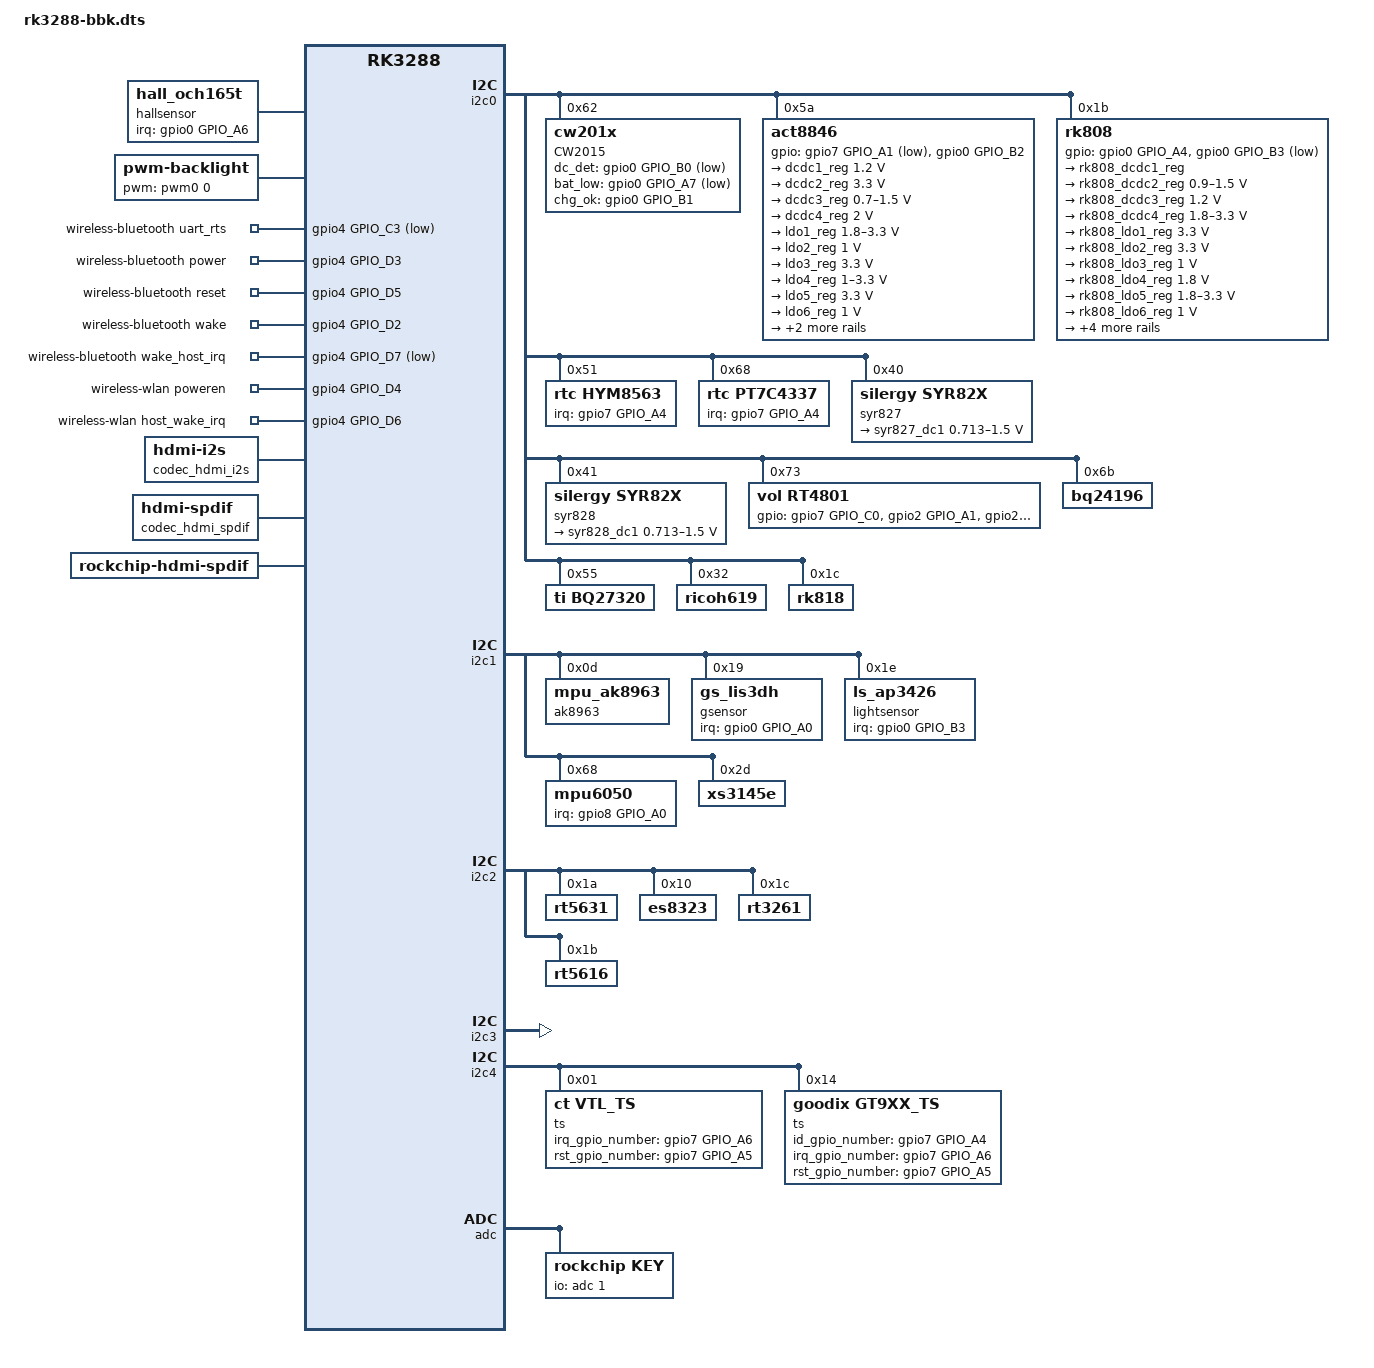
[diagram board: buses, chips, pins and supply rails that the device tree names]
/dts-v1/;
#include "rk3288.dtsi"
#include "vtl_ts_sdk8846.dtsi"
#include "lcd-bbk.dtsi"
/ {
    fiq-debugger {
		compatible = "rockchip,fiq-debugger";
		rockchip,serial-id = <0x02>;
		rockchip,signal-irq = <0x6a>;
		rockchip,wake-irq = <0x00>;
		status = "okay";
	};
    gpu {
		compatible = "arm,malit764",
			     "arm,malit76x",
			     "arm,malit7xx",
			     "arm,mali-midgard";
		reg = <0xffa30000 0x10000>;
		interrupts = <GIC_SPI 6 IRQ_TYPE_LEVEL_HIGH>,
			     <GIC_SPI 7 IRQ_TYPE_LEVEL_HIGH>,
			     <GIC_SPI 8 IRQ_TYPE_LEVEL_HIGH>;
		interrupt-names = "JOB", "MMU", "GPU";
	};
    hallsensor {
        compatible = "hall_och165t";
        type = <SENSOR_TYPE_HALL>;
        irq-gpio = <&gpio0 GPIO_A6 IRQ_TYPE_EDGE_BOTH>;
    };
    backlight: backlight {
		compatible = "pwm-backlight";
		pwms = <&pwm0 0 50000>;
        brightness-levels = <0x08 0x09 0x0a 0x0b 0x0c 0x0c 0x0d 0x0e 0x0f 0x10 0x10 0x11 0x12 0x13 0x14 0x14 0x15 0x16 0x17 0x17 0x18 0x19 0x1a 0x1b 0x1b 0x1c 0x1d 0x1e 0x1f 0x1f 0x20 0x21 0x22 0x23 0x23 0x24 0x25 0x26 0x26 0x27 0x28 0x29 0x2a 0x2a 0x2b 0x2c 0x2d 0x2e 0x2e 0x2f 0x2f 0x30 0x30 0x31 0x31 0x32 0x32 0x33 0x33 0x34 0x34 0x35 0x35 0x36 0x37 0x38 0x38 0x39 0x39 0x3a 0x3b 0x3c 0x3c 0x3d 0x3d 0x3e 0x3e 0x3f 0x3f 0x40 0x40 0x41 0x41 0x42 0x42 0x43 0x43 0x44 0x44 0x45 0x45 0x46 0x46 0x47 0x47 0x48 0x48 0x49 0x49 0x4a 0x4a 0x4b 0x4b 0x4c 0x4c 0x4d 0x4e 0x4e 0x4f 0x4f 0x50 0x50 0x51 0x51 0x52 0x52 0x53 0x53 0x53 0x54 0x54 0x54 0x55 0x55 0x55 0x56 0x56 0x56 0x57 0x57 0x58 0x58 0x58 0x59 0x59 0x59 0x5a 0x5a 0x5b 0x5b 0x5b 0x5c 0x5c 0x5c 0x5d 0x5d 0x5d 0x5e 0x5e 0x5e 0x5f 0x5f 0x5f 0x60 0x60 0x61 0x61 0x62 0x62 0x62 0x63 0x63 0x63 0x64 0x64 0x65 0x65 0x66 0x66 0x67 0x67 0x68 0x68 0x69 0x69 0x6a 0x6a 0x6b 0x6b 0x6c 0x6c 0x6d 0x6d 0x6e 0x6e 0x6f 0x70 0x71 0x72 0x73 0x74 0x75 0x76 0x77 0x78 0x79 0x7a 0x7b 0x7c 0x7d 0x7e 0x7f 0x80 0x81 0x82 0x83 0x84 0x85 0x86 0x87 0x88 0x89 0x8a 0x8b 0x8c 0x8d 0x8e 0x8f 0x90 0x91 0x92 0x93 0x94 0x95 0x96 0x97 0x98 0x99 0x9a 0x9b 0x9c 0x9d 0x9e 0x9f 0xa0 0xa1 0xa2 0xa3 0xa4 0xa5 0xa6 0xa7 0xa8 0xa9 0xaa 0xab 0xac 0xad 0xae 0xaf 0xb0 0xb1 0xb2 0xb3 0xb4>;
		brightness-levels1 = <0x30 0x31 0x32 0x33 0x34 0x34 0x35 0x36 0x37 0x38 0x38 0x39 0x3a 0x3b 0x3c 0x3c 0x3d 0x3e 0x3f 0x3f 0x40 0x41 0x42 0x43 0x43 0x44 0x45 0x46 0x47 0x47 0x48 0x49 0x4a 0x4b 0x4b 0x4c 0x4d 0x4e 0x4e 0x4f 0x50 0x51 0x52 0x52 0x53 0x54 0x55 0x56 0x56 0x57 0x57 0x58 0x58 0x59 0x59 0x5a 0x5a 0x5b 0x5b 0x5c 0x5c 0x5d 0x5d 0x5e 0x5e 0x5f 0x5f 0x60 0x60 0x61 0x61 0x62 0x62 0x63 0x63 0x64 0x64 0x65 0x65 0x66 0x66 0x67 0x67 0x68 0x69 0x69 0x6a 0x6a 0x6b 0x6b 0x6c 0x6c 0x6d 0x6d 0x6e 0x6e 0x6f 0x6f 0x70 0x70 0x71 0x71 0x72 0x72 0x73 0x73 0x73 0x74 0x74 0x75 0x75 0x76 0x76 0x77 0x78 0x78 0x79 0x7a 0x7b 0x7c 0x7d 0x7e 0x7f 0x80 0x80 0x81 0x82 0x83 0x83 0x84 0x84 0x85 0x86 0x86 0x87 0x88 0x88 0x89 0x8a 0x8a 0x8a 0x8b 0x8b 0x8b 0x8c 0x8c 0x8c 0x8d 0x8d 0x8d 0x8e 0x8e 0x8e 0x8f 0x8f 0x8f 0x90 0x90 0x90 0x91 0x91 0x91 0x92 0x92 0x92 0x93 0x93 0x94 0x94 0x95 0x96 0x97 0x98 0x99 0x9a 0x9b 0x9c 0x9d 0x9e 0x9f 0xa0 0xa1 0xa2 0xa3 0xa4 0xa5 0xa6 0xa7 0xa8 0xa9 0xaa 0xab 0xac 0xad 0xae 0xaf 0xb0 0xb1 0xb2 0xb3 0xb4 0xb5 0xb6 0xb7 0xb8 0xb9 0xba 0xbb 0xbc 0xbd 0xbe 0xbf 0xc0 0xc1 0xc2 0xc3 0xc4 0xc5 0xc6 0xc7 0xc8 0xc9 0xca 0xcb 0xcc 0xcd 0xce 0xcf 0xd0 0xd1 0xd2 0xd3 0xd4 0xd5 0xd6 0xd7 0xd8 0xd9 0xda 0xdb 0xdc 0xdd 0xde 0xdf 0xe0 0xe1 0xe2 0xe3 0xe4 0xe5 0xe6 0xe7 0xe8 0xe9 0xea 0xeb>;
		default-brightness-level = <60>;
		//enable-gpios = <&gpio0 GPIO_A4 GPIO_ACTIVE_HIGH>;
    };
    chosen {
		bootargs = "vmalloc=512M console=tty0";
	};
    pwm_regulator {
		compatible = "rockchip_pwm_regulator";
		pwms = <&pwm1 0 2000>;
		rockchip,pwm_id= <1>;
		rockchip,pwm_voltage_map= <925000 950000 975000 1000000 1025000 1050000 1075000 1100000 1125000 1150000 1175000 1200000 1225000 1250000 1275000 1300000 1325000 1350000 1375000 1400000>;
		rockchip,pwm_voltage= <1000000>;
		rockchip,pwm_min_voltage= <925000>;
		rockchip,pwm_max_voltage= <1400000>;
		rockchip,pwm_suspend_voltage= <950000>;
		rockchip,pwm_coefficient= <475>;
        status = "disabled";
        regulators {
			#address-cells = <1>;
			#size-cells = <0>;
			pwm_reg0: regulator@0 {
				regulator-compatible = "pwm_dcdc1";
				regulator-name= "vdd_logic";
				regulator-min-microvolt = <925000>;
				regulator-max-microvolt = <1400000>;
				regulator-always-on;
				regulator-boot-on;
			};
		};
    };
    wireless-bluetooth {
        compatible = "bluetooth-platdata";

        //wifi-bt-power-toggle;

        uart_rts_gpios = <&gpio4 GPIO_C3 GPIO_ACTIVE_LOW>;
        pinctrl-names = "default","rts_gpio";
        pinctrl-0 = <&uart0_rts>;
        pinctrl-1 = <&uart0_rts_gpio>;

        BT,power_gpio = <&gpio4 GPIO_D3 GPIO_ACTIVE_HIGH>;
        BT,reset_gpio = <&gpio4 GPIO_D5 GPIO_ACTIVE_HIGH>;
        BT,wake_gpio = <&gpio4 GPIO_D2 GPIO_ACTIVE_HIGH>;
        BT,wake_host_irq = <&gpio4 GPIO_D7 GPIO_ACTIVE_LOW>;

        status = "okay";
    };
    wireless-wlan {
        compatible = "wlan-platdata";

        /* wifi_chip_type - wifi chip define
         * bcmwifi ==> like ap6xxx, rk90x;
         * rtkwifi ==> like rtl8188xx, rtl8723xx;
         * esp8089 ==> esp8089;
         * other   ==> for other wifi;
         */
        wifi_chip_type = "bcmwifi";

        sdio_vref = <1800>; //1800mv or 3300mv

        //keep_wifi_power_on;

        //power_ctrl_by_pmu;
        power_pmu_regulator = "act_ldo3";
        power_pmu_enable_level = <1>; //1->HIGH, 0->LOW

        //vref_ctrl_enable;
        //vref_ctrl_gpio = <&gpio0 GPIO_A2 GPIO_ACTIVE_HIGH>;
        vref_pmu_regulator = "act_ldo3";
        vref_pmu_enable_level = <1>; //1->HIGH, 0->LOW

        WIFI,poweren_gpio = <&gpio4 GPIO_D4 GPIO_ACTIVE_HIGH>;
        WIFI,host_wake_irq = <&gpio4 GPIO_D6 GPIO_ACTIVE_HIGH>;
        //WIFI,reset_gpio = <&gpio0 GPIO_A2 GPIO_ACTIVE_LOW>;

        status = "okay";
    };
    codec_hdmi_i2s: codec-hdmi-i2s {
		compatible = "hdmi-i2s";
	};

	codec_hdmi_spdif: codec-hdmi-spdif {
		compatible = "hdmi-spdif";
	};
    rockchip-hdmi-i2s {
		status = "disabled";
		compatible = "rockchip-hdmi-i2s";
		dais {
			dai0 {
				audio-codec = <&codec_hdmi_i2s>;
				audio-controller = <&i2s>;
				format = "i2s";
				//continuous-clock;
				//bitclock-inversion;
				//frame-inversion;
				//bitclock-master;
				//frame-master;
			};
		};
	};
    rockchip-hdmi-spdif {
		compatible = "rockchip-hdmi-spdif";
		dais {
			dai0 {
				audio-codec = <&codec_hdmi_spdif>;
				audio-controller = <&spdif>;
			};
		};
	};
};

&fb {
    rockchip,disp-mode = <DUAL>;
    rockchip,uboot-logo-on = <0>;
};

&disp_timings {
	native-mode = <&timing0>;
};

&rk_screen {
    display-timings = <&disp_timings>;
    display-timings1 = <&disp_timings1>;
};

&i2c0 {
	status = "okay";
	CW2015@62 {
		compatible = "cw201x";
		reg = <0x62>;
		dc_det_gpio = <&gpio0 GPIO_B0 GPIO_ACTIVE_LOW>;
		bat_low_gpio = <&gpio0 GPIO_A7 GPIO_ACTIVE_LOW>;
		chg_ok_gpio = <&gpio0 GPIO_B1 GPIO_ACTIVE_HIGH>;
		bat_config_info = <0x17 0x2c 0x50 0x6d 0x6c 0x6a 0x65 0x5c 0x64 0x59 0x55 0x53 0x51 0x51 0x47 0x3b 0x2e 0x28 0x1c 0x16 0x17 0x25 0x3e 0x4c 0x47 0x2d 0x0d 0x71 0x18 0x30 0x46 0x57 0x5b 0x5b 0x5f 0x61 0x3e 0x1a 0x67 0x39 0x00 0x26 0x52 0x87 0x8f 0x91 0x94 0x52 0x82 0x8c 0x92 0x96 0x79 0x87 0xbd 0xcb 0x2f 0x7d 0x72 0xa5 0xb5 0xc1 0x86 0x31>;
		is_dc_charge = <1>;
		is_usb_charge = <0>;
	};
    act8846: act8846@5a {
		reg = <0x5a>;
		status = "okay";
	};
    rk808: rk808@1b {
		reg = <0x1b>;
		status = "okay";
	};
    rtc@51 {
		compatible = "rtc,hym8563";
		reg = <0x51>;
		irq_gpio = <&gpio7 GPIO_A4 IRQ_TYPE_EDGE_FALLING>;
	};
    rtc@68 {
        compatible = "rtc,pt7c4337";
        reg = <0x68>;
        irq_gpio = <&gpio7 GPIO_A4 IRQ_TYPE_EDGE_FALLING>;
    };
    syr827: syr827@40 {
		compatible = "silergy,syr82x";
  	    reg = <0x40>;
		status = "okay";
		regulators {
			#address-cells = <1>;
			#size-cells = <0>;	
			syr827_dc1: regulator@0 {
			reg = <0>;
			regulator-compatible = "syr82x_dcdc1";
			regulator-name = "vdd_arm";
			regulator-min-microvolt = <712500>;
			regulator-max-microvolt = <1500000>;
			regulator-always-on;
			regulator-boot-on;
			regulator-initial-mode = <0x2>;
			regulator-initial-state = <3>;
			regulator-state-mem {
				regulator-state-mode = <0x2>;
				regulator-state-enabled;
				regulator-state-uv = <900000>;
			};
		};
	   };
	};
	syr828: syr828@41 {
		compatible = "silergy,syr82x";
		reg = <0x41>;
		status = "okay";
		regulators {
			#address-cells = <1>;
			#size-cells = <0>;	
			syr828_dc1: regulator@0 {
			    reg = <0>;
			    regulator-compatible = "syr82x_dcdc1";
			    regulator-name = "vdd_gpu";
			    regulator-min-microvolt = <712500>;
			    regulator-max-microvolt = <1500000>;
			    regulator-always-on;
  		        regulator-boot-on;
			    regulator-initial-mode = <0x2>;
			    regulator-initial-state = <3>;
			    regulator-state-mem {
			    	regulator-state-mode = <0x2>;
			    	regulator-state-disabled;
			    	regulator-state-uv = <900000>;
			    };	
		    };
	   };
	};
    rt4801: rt4801@73 {
        compatible = "vol,rt4801";
        gpios = <&gpio7 GPIO_C0 GPIO_ACTIVE_HIGH>,
                <&gpio2 GPIO_A1 GPIO_ACTIVE_HIGH>,
                <&gpio2 GPIO_A2 GPIO_ACTIVE_LOW>;
        reg = <0x73>;
        status = "okay";
    };
    bq24196: bq24196@5a {
        reg = <0x6b>;
        bq24196,chg_current = <1000 2000 3000>;
        status = "okay";
    };

    bq27320: bq27320@55 {
		compatible = "ti,bq27320";
		reg = <0x55>;
        status = "okay";
    };
    ricoh619: ricoh619@32 {
        reg = <0x32>;
        status = "okay";
    };
    rk818: rk818@1c {
        reg = <0x1c>;
        status = "okay";
    };

};

&i2c1 {
    status = "okay";
    ak8963: compass@0d{
		compatible = "mpu_ak8963";
		reg = <0x0d>;
		compass-bus = <0>;
		compass-adapt_num = <0>;
		compass-orientation = <1 0 0 0 1 0 0 0 1>;
		orientation-x= <0>;
		orientation-y= <0>;
		orientation-z= <1>;	
		compass-debug = <1>;
		status = "okay";
	};
    gsensor@19 {
        compatible = "gs_lis3dh";
		reg = <0x19>;
		type = <SENSOR_TYPE_ACCEL>;
		irq-gpio = <&gpio0 GPIO_A0 IRQ_TYPE_LEVEL_LOW>;
		irq_enable = <1>;
		poll_delay_ms = <30>;
		layout = <1>;
    };
    lightsensor@1e {
        compatible = "ls_ap3426";
        reg = <0x1e>;
        type = <SENSOR_TYPE_LIGHT>;
        irq-gpio = <&gpio0 GPIO_B3 IRQ_TYPE_LEVEL_LOW>;
        irq_enable = <0x01>;     
    };
    mpu6050:mpu@68{
        //status = "disabled";
        compatible = "mpu6050";
        reg = <0x68>;
        mpu-int_config = <0x10>;
        mpu-level_shifter = <0>;
        mpu-orientation = <0 1 0 1 0 0 0 0 1>;
        orientation-x= <1>;
        orientation-y= <1>;
        orientation-z= <1>;
        irq-gpio = <&gpio8 GPIO_A0 IRQ_TYPE_LEVEL_LOW>;
        mpu-debug = <0>;
    };
    xs3145e@2d {
        compatible = "xs3145e";
        reg = <0x2d>;
    };
};
&i2c2 {
    status = "okay";
    rt5631: rt5631@1a {
		compatible = "rt5631";
		reg = <0x1a>;
	};
    es8323: es8323@10 {
	    compatible = "es8323";
		reg = <0x10>;
	};
    rt3261: rt3261@1c {
		compatible = "rt3261";
		reg = <0x1c>;
	//	codec-en-gpio = <0>;//sdk default high level
		spk-num= <2>;
		modem-input-mode = <1>;
		lout-to-modem_mode = <1>;
		spk-amplify = <2>;
		playback-if1-data_control = <0>;
		playback-if2-data_control = <0>;
    };
    rt5616: rt5616@1b {
		compatible = "rt5616";
		reg = <0x1b>;
	};
};

&i2c3 {
    status = "okay";
};
&i2c4 {
    ts@01 {
		compatible = "ct,vtl_ts";
		reg = <0x01>;
		screen_max_x = <1536>;
		screen_max_y = <2048>;
		irq_gpio_number = <&gpio7 GPIO_A6 IRQ_TYPE_LEVEL_LOW>;
		rst_gpio_number = <&gpio7 GPIO_A5 GPIO_ACTIVE_HIGH>;
        x_mul = <2>;
        x_reverse = <0>;
        xy_swap = <1>;
        y_mul = <2>;
        y_reverse = <0>;
	};
    ts@02 {
        bin_ver = <0x00>;
        compatible = "goodix,gt9xx_ts";
        reg = <0x14>;
        screen_max_x = <1536>;
        screen_max_y = <2048>;
        id_gpio_number = <&gpio7 GPIO_A4 IRQ_TYPE_LEVEL_LOW>;
        irq_gpio_number = <&gpio7 GPIO_A6 IRQ_TYPE_LEVEL_LOW>;
        rst_gpio_number = <&gpio7 GPIO_A5 GPIO_ACTIVE_HIGH>;
        pinctrl-0 = <0xc4>;
        pinctrl-names = "default";
        x_mul = <2>;
        x_reverse = <0>;
        xy_swap = <1>;
        y_mul = <2>;
        y_reverse = <0>;
    };
};
&adc {
	status = "okay";

	key {
		compatible = "rockchip,key";
        io-channels = <&adc 1>;
        hall-key {
            gpio-key,wakeup;
            gpios = <&gpio7 GPIO_C5 GPIO_ACTIVE_LOW>;
            label = "hall wakeup";
            linux,code = <143>;
        };

        power-key {
            gpio-key,wakeup;
            gpios = <&gpio0 GPIO_A5 GPIO_ACTIVE_LOW>;
            label = "power";
            linux,code = <116>;
        };

        vol-down-key {
            label = "volume down";
            linux,code = <114>;
            rockchip,adc_value = <1>;
        };

        vol-up-key {
            label = "volume up";
            linux,code = <115>;
            rockchip,adc_value = <512>;
        };
    };
};
&i2c5 {
    status = "disabled";
};
/include/ "act8846.dtsi"
&act8846 {
    gpios = <&gpio7 GPIO_A1 GPIO_ACTIVE_LOW>,<&gpio0 GPIO_B2 GPIO_ACTIVE_HIGH>;

    regulators {
        dcdc1_reg: regulator@0 {
            regulator-name = "act_dcdc1";
            regulator-min-microvolt = <1200000>;
            regulator-max-microvolt = <1200000>;
            regulator-always-on;
            regulator-boot-on;
        };
        dcdc2_reg: regulator@1 {
            regulator-name = "vccio";
            regulator-initial-state = <3>;
            regulator-min-microvolt = <3300000>;
            regulator-max-microvolt = <3300000>;
            regulator-always-on;
            regulator-boot-on;
            regulator-state-mem {
                regulator-state-enabled;
                regulator-state-uv = <3300000>;
            };
        };
        dcdc3_reg: regulator@2 {
            regulator-name = "vdd_logic";
            regulator-min-microvolt = <700000>;
            regulator-max-microvolt = <1500000>;
            regulator-initial-state = <3>;
            regulator-always-on;
            regulator-boot-on;
            regulator-state-mem {
                regulator-state-enabled;
                regulator-state-uv = <1000000>;
            };
        };
        dcdc4_reg: regulator@3 {
            regulator-name = "act_dcdc4";
            regulator-min-microvolt = <2000000>;
            regulator-max-microvolt = <2000000>;
            regulator-initial-state = <3>;
            regulator-state-mem {
                regulator-state-enabled;
                regulator-state-uv = <2000000>;
            };
        };

        ldo1_reg: regulator@4 {
            regulator-name = "vccio_sd";
            regulator-min-microvolt = <1800000>;
            regulator-max-microvolt = <3300000>;
        };

        ldo2_reg: regulator@5 {
            regulator-name = "act_ldo2";
            regulator-min-microvolt = <1000000>;
            regulator-max-microvolt = <1000000>;               
        };

        ldo3_reg: regulator@6 {
            regulator-name = "act_ldo3";
            regulator-min-microvolt = <3300000>;
            regulator-max-microvolt = <3300000>;
            
        };

        ldo4_reg: regulator@7 {
            regulator-name = "act_ldo4";
            regulator-min-microvolt = <1000000>;
            regulator-max-microvolt = <3300000>;         
        };

        ldo5_reg: regulator@8 {
            regulator-name = "vccio_pmu";
            regulator-min-microvolt = <3300000>;
            regulator-max-microvolt = <3300000>;        
        };

        ldo6_reg: regulator@9 {
            regulator-name = "act_ldo6";
            regulator-max-microvolt = <1000000>;
            regulator-min-microvolt = <1000000>;
            regulator-initial-state = <3>;
            regulator-state-mem {
                regulator-state-enabled;
            };
        };
        ldo7_reg: regulator@10 {
            regulator-name = "vcc_18";
            regulator-max-microvolt = <1800000>;
            regulator-min-microvolt = <1800000>;
            regulator-initial-state = <3>;
            regulator-state-mem {
                regulator-state-enabled;
            };
        };

        ldo8_reg: regulator@11 {
            regulator-name = "act_ldo8";
            regulator-max-microvolt = <1800000>;
            regulator-min-microvolt = <1800000>;
           
        };
    };
};

/include/ "rk808.dtsi"
&rk808 {
	gpios =<&gpio0 GPIO_A4 GPIO_ACTIVE_HIGH>,<&gpio0 GPIO_B3 GPIO_ACTIVE_LOW>;
	rk808,system-power-controller;

	regulators {
		
		rk808_dcdc1_reg: regulator@0{
			regulator-name= "vdd_arm";
			regulator-always-on;
			regulator-boot-on;
            regulator-initial-mode = <2>;
            regulator-initial-state = <3>;
            regulator-state-mem {
                regulator-state-disabled;
                regulator-state-mode = <2>;
                regulator-state-uv = <900000>;
            };
		};

		rk808_dcdc2_reg: regulator@1 {
			regulator-name= "vdd_gpu";
			regulator-always-on;
			regulator-boot-on;
            regulator-initial-mode = <2>;
            regulator-initial-state = <3>;
            regulator-min-microvolt = <900000>;
            regulator-max-microvolt = <1500000>;
            regulator-state-mem {
                regulator-state-disabled;
                regulator-state-mode = <0x02>;
                regulator-state-uv = <900000>;
            };
		};

		rk808_dcdc3_reg: regulator@2 {
			regulator-name= "rk_dcdc3";
			regulator-min-microvolt = <1200000>;
			regulator-max-microvolt = <1200000>;
			regulator-always-on;
			regulator-boot-on;
            regulator-initial-mode = <2>;
            regulator-initial-state = <3>;
            regulator-state-mem {
                regulator-state-enabled;
                regulator-state-mode = <0x02>;
                regulator-state-uv = <1200000>;
            };
		};

		rk808_dcdc4_reg: regulator@3 {
			regulator-name= "vccio";
			regulator-min-microvolt = <1800000>;
			regulator-max-microvolt = <3300000>;
			regulator-always-on;
			regulator-boot-on;
            regulator-initial-mode = <2>;
            regulator-initial-state = <3>;
            regulator-state-mem {
                regulator-state-enabled;
                regulator-state-mode = <0x02>;
                regulator-state-uv = <3300000>;
            };
		};

    /* NO USED, 3.3V*/
		rk808_ldo1_reg: regulator@4 {
			regulator-name= "rk_ldo1";
			regulator-min-microvolt = <3300000>;
			regulator-max-microvolt = <3300000>;
			regulator-always-on;
			regulator-boot-on;
            regulator-state-mem {
                regulator-state-enabled;
                regulator-state-uv = <3300000>;
            };
		};

    /* BOX:RK1000s, 3.3V  */
		rk808_ldo2_reg: regulator@5 {
			regulator-name= "rk_ldo2";
			regulator-min-microvolt = <3300000>;
			regulator-max-microvolt = <3300000>;
			regulator-always-on;
			regulator-boot-on;
            regulator-initial-state = <3>;
            regulator-state-mem {
                regulator-state-enabled;
                regulator-state-uv = <3300000>;
            };
		};

    /* RK3288 PLL,USB PHY, 1.0V */
		rk808_ldo3_reg: regulator@6 {
			regulator-name= "rk_ldo3";
			regulator-min-microvolt = <1000000>;
			regulator-max-microvolt = <1000000>;
			regulator-always-on;
			regulator-boot-on;
            regulator-initial-state = <3>;
            regulator-state-mem {
                regulator-state-enabled;
                regulator-state-uv = <1000000>;
            };    
		};

    /* BOX:RK1000S CORE, 1.8V  */
		rk808_ldo4_reg:regulator@7 {
			regulator-name= "rk_ldo4";
			regulator-min-microvolt = <1800000>;
			regulator-max-microvolt = <1800000>;
			regulator-always-on;
			regulator-boot-on;
            regulator-initial-state = <3>;
            regulator-state-mem {
                regulator-state-disabled;
                regulator-state-uv = <1800000>;
            };
		};
    
    /* SDMMC IO, 3.3V*/
		rk808_ldo5_reg: regulator@8 {
			regulator-name= "rk_ldo5";
			regulator-min-microvolt = <1800000>;
			regulator-max-microvolt = <3300000>;
			regulator-always-on;
			regulator-boot-on;
            regulator-initial-state = <3>;
            regulator-state-mem {
                regulator-state-enabled;
                regulator-state-uv = <2800000>;
            };
		};
    
    /* CAMERA, 1.8V  box modify*/
		rk808_ldo6_reg: regulator@9 {
			regulator-name= "rk_ldo6";
			regulator-min-microvolt = <1000000>;
			regulator-max-microvolt = <1000000>;
			regulator-always-on;
			regulator-boot-on;
            regulator-initial-state = <3>;
            regulator-state-mem {
                regulator-state-disabled;
                regulator-state-uv = <1000000>;
            };
		};

    /* RK3288 USB PHY, SAR-ADC, WIFI IO, 1.8V */
		rk808_ldo7_reg: regulator@10 {
			regulator-name= "rk_ldo7";
			regulator-min-microvolt = <1800000>;
			regulator-max-microvolt = <1800000>;
			regulator-always-on;
			regulator-boot-on;
            regulator-initial-state = <3>;
            regulator-state-mem {
                regulator-state-enabled;
                regulator-state-uv = <1800000>;
            };
		};

    /* DTV, 3.3V  box modify*/
		rk808_ldo8_reg: regulator@11 {
			regulator-name= "rk_ldo8";
			regulator-min-microvolt = <3300000>;
			regulator-max-microvolt = <3300000>;
			regulator-always-on;
			regulator-boot-on;
            regulator-initial-state = <3>;
            regulator-state-mem {
                regulator-state-enabled;
                regulator-state-uv = <3300000>;
            };
		};

		rk808_ldo9_reg: regulator@12 {
			regulator-name= "rk_ldo9";
			regulator-always-on;
			regulator-boot-on;
            regulator-initial-state = <3>;
            regulator-state-mem {
                regulator-state-enabled;
            };
		};

		rk808_ldo10_reg: regulator@13 {
			regulator-name= "rk_ldo10";
			regulator-always-on;
			regulator-boot-on;
            regulator-initial-state = <3>;
            regulator-state-mem {
                regulator-state-disabled;
            };
		};
	};
};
